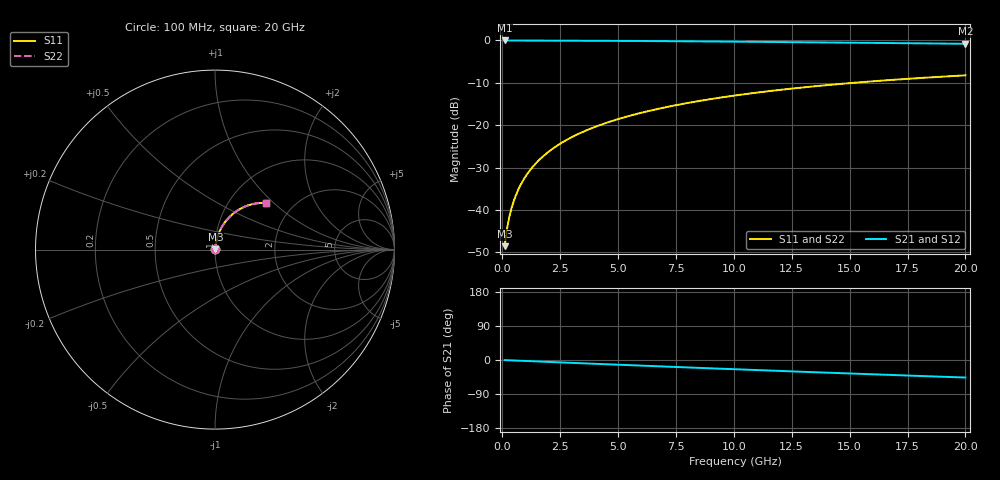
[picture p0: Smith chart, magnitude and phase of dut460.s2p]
! Touchstone file exported from HFSS 2026.1.0
!  File:  C:/ffzhzh/LocalFiles/Ansys_Project_Files/temp_train_TMRDL_460_1783005972_51716.aedt
!  Generated:  11:27:44 PM Jul  2, 2026
!  Design:  TMRDL
!  Project:  temp_train_TMRDL_460_1783005972_51716
! Variables:
!  h_bsmrdl = 2um
!  h_ox = 20um
!  h_rdl = 5um
!  h_sub = 80um
!  h_tmrdl = 4.37um
!  h_tsv = 80um
!  h_via = 3um
!  l_bsmrdl = 300um
!  l_sub = 1103.14um
!  l_tmrdl = 703.14um
!  m_sub = 200um
!  pitch = 49.42um
!  r_tsv = 6um
!  s_tmrdl = 10um
!  w_bsmrdl = 18um
!  w_sub = 500um
!  w_tmrdl = 23.63um
!  x_tsv_center1 = 714.955um
!  x_tsv_center2 = 1032.955um
!  x_tsv_center3 = 1759.725um
!  x_tsv_center4 = 2077.725um
!  x_tsv_center5 = 2804.495um
!  x_tsv_center6 = 3122.495um
# GHz S MA R 50.000000
! Terminal data exported
! Port[1] = TM_RDL1_1_T1
! Port[2] = TM_RDL1_1_T2
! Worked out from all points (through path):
!   200 points, 100 MHz to 20 GHz, reference 50 ohm
!   highest |S21| = -0.02 dB at 100 MHz (marker M1); lowest = -0.8 dB at 20 GHz (marker M2)
!   group delay of S21, straight-line fit = 6.42 ps
!   lowest |S11| = -48.6 dB at 100 MHz (marker M3), VSWR 1.01, Z = 50.3 + j0.268 ohm
!   |S11| at or under -10 dB: start of sweep to 15.2 GHz
!   |S22| runs from -48.6 to -8.3 dB; largest |S21 - S12| = 2.7e-15
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0.1  0.003735 45.5  0.9974 -0.3  0.9974 -0.3  0.003735 45.5
! Gamma 0 0 0 0
! Port Impedance 50 0 50 0
0.2  0.005913 61.4  0.9972 -0.5  0.9972 -0.5  0.005913 61.4
0.3  0.008201 68.2  0.997 -0.8  0.997 -0.8  0.008201 68.2
0.4  0.01051 72.1  0.9969 -1.0  0.9969 -1.0  0.01051 72.1
0.5  0.01284 74.6  0.9968 -1.3  0.9968 -1.3  0.01284 74.6
0.6  0.01519 76.4  0.9967 -1.5  0.9967 -1.5  0.01519 76.4
0.8  0.01992 78.5  0.9965 -2.0  0.9965 -2.0  0.01992 78.5
1.1  0.02707 80.0  0.9962 -2.8  0.9962 -2.8  0.02707 80.0
1.5  0.03664 80.6  0.9957 -3.8  0.9957 -3.8  0.03664 80.6
1.8  0.04379 80.5  0.9953 -4.5  0.9953 -4.5  0.04379 80.5
2.1  0.05093 80.2  0.9947 -5.3  0.9947 -5.3  0.05093 80.2
2.7  0.06509 79.4  0.9935 -6.8  0.9935 -6.8  0.06509 79.4
3.5  0.08372 77.8  0.9915 -8.8  0.9915 -8.8  0.08372 77.8
4.2  0.09976 76.3  0.9895 -10.5  0.9895 -10.5  0.09976 76.4
5  0.1178 74.6  0.987 -12.4  0.987 -12.4  0.1178 74.6
5.9  0.1377 72.6  0.9838 -14.6  0.9838 -14.6  0.1377 72.6
6.8  0.1571 70.5  0.9803 -16.8  0.9803 -16.8  0.1571 70.6
8.3  0.1886 67.2  0.9739 -20.3  0.9739 -20.3  0.1886 67.2
10.1  0.2247 63.2  0.9655 -24.6  0.9655 -24.6  0.2247 63.2
13.4  0.2858 55.9  0.9483 -32.1  0.9483 -32.1  0.2858 56.0
16.7  0.3399 48.9  0.9298 -39.3  0.9298 -39.3  0.3399 49.0
20  0.3865 42.2  0.9112 -46.2  0.9112 -46.2  0.3865 42.2
